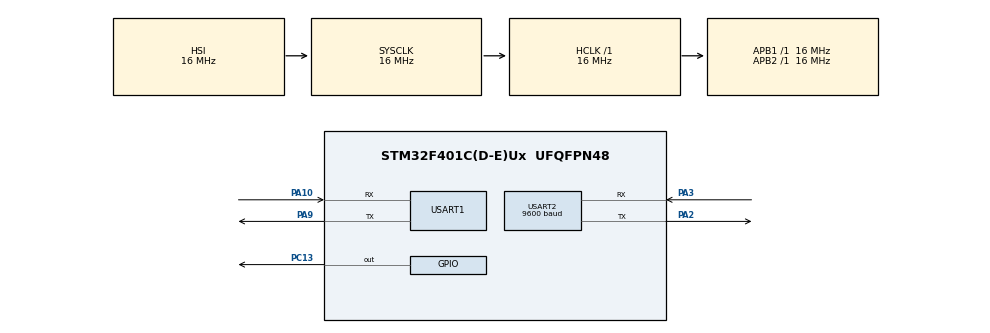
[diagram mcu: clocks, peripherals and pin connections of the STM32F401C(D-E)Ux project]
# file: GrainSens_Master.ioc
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Mcu.Family=STM32F4
Mcu.Name=STM32F401C(D-E)Ux
Mcu.Package=UFQFPN48
NVIC.PriorityGroup=NVIC_PRIORITYGROUP_4
NVIC.USART1_IRQn=true\:0\:0\:false\:false\:true\:true\:true\:true
NVIC.USART2_IRQn=true\:0\:0\:false\:false\:true\:true\:true\:true
PA10.Mode=Asynchronous
PA10.Signal=USART1_RX
PA13.Mode=Serial_Wire
PA13.Signal=SYS_JTMS-SWDIO
PA14.Mode=Serial_Wire
PA14.Signal=SYS_JTCK-SWCLK
PA2.Mode=Asynchronous
PA2.Signal=USART2_TX
PA3.Mode=Asynchronous
PA3.Signal=USART2_RX
PA9.Mode=Asynchronous
PA9.Signal=USART1_TX
PC13-ANTI_TAMP.Signal=GPIO_Output
PH0\ -\ OSC_IN.Mode=HSE-External-Oscillator
PH0\ -\ OSC_IN.Signal=RCC_OSC_IN
PH1\ -\ OSC_OUT.Mode=HSE-External-Oscillator
PH1\ -\ OSC_OUT.Signal=RCC_OSC_OUT
ProjectManager.HeapSize=0x200
ProjectManager.StackSize=0x400
ProjectManager.TargetToolchain=STM32CubeIDE
RCC.AHBFreq_Value=16000000
RCC.APB1Freq_Value=16000000
RCC.APB1TimFreq_Value=16000000
RCC.APB2Freq_Value=16000000
RCC.APB2TimFreq_Value=16000000
RCC.CortexFreq_Value=16000000
RCC.HCLKFreq_Value=16000000
RCC.HSE_VALUE=25000000
RCC.HSI_VALUE=16000000
RCC.LSE_VALUE=32768
RCC.SYSCLKFreq_VALUE=16000000
RCC.VCOOutputFreq_Value=192000000
USART1.VirtualMode=VM_ASYNC
USART2.BaudRate=9600
USART2.VirtualMode=VM_ASYNC
USART2.WordLength=WORDLENGTH_9B
VP_CRC_VS_CRC.Mode=CRC_Activate
board=custom

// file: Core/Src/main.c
/* USER CODE BEGIN Header */
/* USER CODE END Header */
#include "main.h"
#include "crc.h"
#include "gpio.h"
#include "usart.h"

/* USER CODE BEGIN Includes */

#include "commands.h"
#include "stdio.h"
#include "string.h"
/* USER CODE END Includes */

/* USER CODE BEGIN PV */
uint8_t UART1_buffer[8];
uint8_t UART1_TX_buffer[32];
uint16_t UART2_RX_buffer[8];
uint16_t UART2_TX_buffer[8];
uint8_t UART1_is_transmitted = 1;
uint8_t UART1_is_received = 0;
const uint8_t packetSize = 8;
uint8_t UART2_is_transmitted = 1;
uint8_t UART2_is_received = 0;
/* USER CODE END PV */

void SystemClock_Config(void);
/* USER CODE BEGIN PFP */
void formPacket();
/* USER CODE END PFP */

int main(void) {

  /* MCU Configuration--------------------------------------------------------*/

  /* Reset of all peripherals, Initializes the Flash interface and the Systick.
   */
  HAL_Init();

  /* Configure the system clock */
  SystemClock_Config();

  /* Initialize all configured peripherals */
  MX_GPIO_Init();
  MX_USART2_UART_Init();
  MX_USART1_UART_Init();
  MX_CRC_Init();
  /* USER CODE BEGIN 2 */
  HAL_UART_Receive_IT(&huart1, UART1_buffer, 4);
  HAL_UART_Receive_IT(&huart2, (uint8_t *)UART2_RX_buffer, packetSize);
  /* USER CODE END 2 */

  /* Infinite loop */
  while (1) {

  }
}

void SystemClock_Config(void) {
  RCC_OscInitTypeDef RCC_OscInitStruct = {0};
  RCC_ClkInitTypeDef RCC_ClkInitStruct = {0};

  /** Configure the main internal regulator output voltage
   */
  __HAL_RCC_PWR_CLK_ENABLE();
  __HAL_PWR_VOLTAGESCALING_CONFIG(PWR_REGULATOR_VOLTAGE_SCALE2);

  /** Initializes the RCC Oscillators according to the specified parameters
   * in the RCC_OscInitTypeDef structure.
   */
  RCC_OscInitStruct.OscillatorType = RCC_OSCILLATORTYPE_HSI;
  RCC_OscInitStruct.HSIState = RCC_HSI_ON;
  RCC_OscInitStruct.HSICalibrationValue = RCC_HSICALIBRATION_DEFAULT;
  RCC_OscInitStruct.PLL.PLLState = RCC_PLL_NONE;
  if (HAL_RCC_OscConfig(&RCC_OscInitStruct) != HAL_OK) {
    Error_Handler();
  }

  /** Initializes the CPU, AHB and APB buses clocks
   */
  RCC_ClkInitStruct.ClockType = RCC_CLOCKTYPE_HCLK | RCC_CLOCKTYPE_SYSCLK |
                                RCC_CLOCKTYPE_PCLK1 | RCC_CLOCKTYPE_PCLK2;
  RCC_ClkInitStruct.SYSCLKSource = RCC_SYSCLKSOURCE_HSI;
  RCC_ClkInitStruct.AHBCLKDivider = RCC_SYSCLK_DIV1;
  RCC_ClkInitStruct.APB1CLKDivider = RCC_HCLK_DIV1;
  RCC_ClkInitStruct.APB2CLKDivider = RCC_HCLK_DIV1;

  if (HAL_RCC_ClockConfig(&RCC_ClkInitStruct, FLASH_LATENCY_0) != HAL_OK) {
    Error_Handler();
  }
}

/* USER CODE BEGIN 4 */
void HAL_UART_RxCpltCallback(UART_HandleTypeDef *huart) {
  if (huart == &huart1) {
    UART1_is_received = 1;

    if (UART1_is_transmitted) {
      sprintf((char *)UART1_TX_buffer,
              (const char *)"was sent %c%c%c%c comand\r\n", UART1_buffer[0],
              UART1_buffer[1], UART1_buffer[2], UART1_buffer[3]);
      formPacket();

      HAL_UART_Transmit_IT(&huart2, (uint8_t *)UART2_TX_buffer, packetSize);
      HAL_UART_Transmit_IT(&huart1, UART1_TX_buffer,
                           strlen((const char *)UART1_TX_buffer));
      UART1_is_received = 0;
      UART1_is_transmitted = 0;
      UART2_is_received = 0;
      UART2_is_transmitted = 0;
    }
    UART_Start_Receive_IT(&huart1, UART1_buffer, 4);
  }

  else if (huart == &huart2) {
    HAL_GPIO_TogglePin(GPIOC, GPIO_PIN_13);
    UART_Start_Receive_IT(&huart2, (uint8_t *)UART2_RX_buffer, packetSize);
  }
}
void HAL_UART_TxCpltCallback(UART_HandleTypeDef *huart) {

  if (huart == &huart1) {
    UART1_is_transmitted = 1;

    if (UART1_is_received) {

      sprintf((char *)UART1_TX_buffer,
              (const char *)"was sent %c%c%c%c comand\r\n", UART1_buffer[0],
              UART1_buffer[1], UART1_buffer[2], UART1_buffer[3]);
      HAL_UART_Transmit_IT(&huart1, UART1_TX_buffer,
                           strlen((const char *)UART1_TX_buffer));
      UART1_is_received = 0;
      UART1_is_transmitted = 0;
      UART2_is_received = 0;
      UART2_is_transmitted = 0;
    }
  }
}

void formPacket() {
  UART2_TX_buffer[0] = 0x0100 | UART1_buffer[0];
  UART2_TX_buffer[1] = UART1_buffer[1];
  UART2_TX_buffer[2] = UART1_buffer[2];
  UART2_TX_buffer[3] = UART1_buffer[3];
  uint32_t Crc = HAL_CRC_Calculate(&hcrc, (uint32_t *)UART2_TX_buffer,
                                   (packetSize / 2 - 2));
  UART2_TX_buffer[4] = (Crc & 0xFF000000) >> 24;
  UART2_TX_buffer[5] = (Crc & 0x00FF0000) >> 16;
  UART2_TX_buffer[6] = (Crc & 0x0000FF00) >> 8;
  UART2_TX_buffer[7] = (Crc & 0x000000FF);
}

/* USER CODE END 4 */

void Error_Handler(void) {
}
